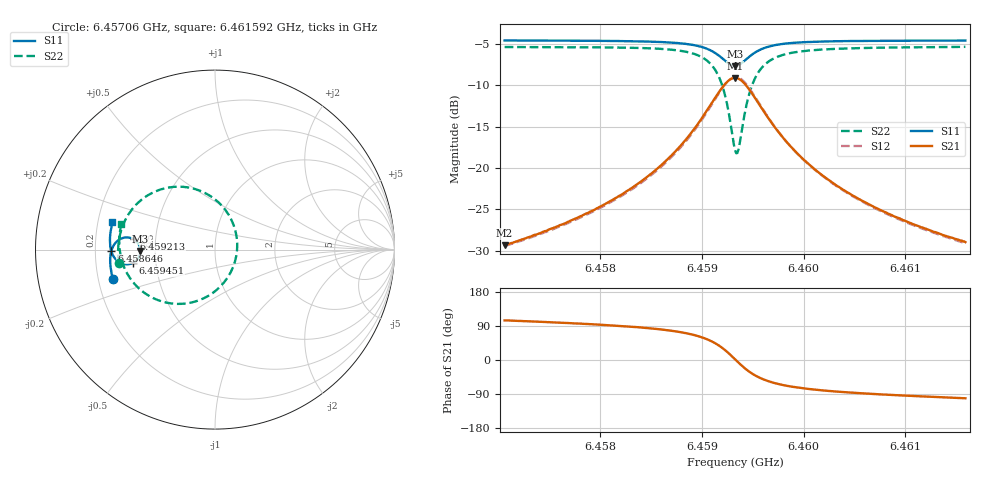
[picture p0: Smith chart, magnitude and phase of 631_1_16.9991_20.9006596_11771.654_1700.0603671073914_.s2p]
#  HZ  S  RI  R  50.00
! Rohde & Schwarz Vector Network Analyzer
! Rohde-Schwarz,ZNB20-2Port,1311601062101988,3.16
! Created: UTC 3/20/2024, 11:20:20 PM
! freq[Hz]  re:S11  im:S11  re:S21  im:S21  re:S12  im:S12  re:S22  im:S22
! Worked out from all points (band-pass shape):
!   401 points, 6.45706 GHz to 6.461592 GHz, reference 50 ohm
!   highest |S21| = -9.08 dB at 6.459326 GHz (marker M1); lowest = -29.3 dB at 6.45706 GHz (marker M2)
!   |S21| within 3 dB of the highest: 6.4591 GHz to 6.459553 GHz (452.7 kHz wide, 0.00701 % of centre)
!   lowest |S11| = -7.6 dB at 6.459326 GHz (marker M3), VSWR 2.42, Z = 20.7 - j0.363 ohm
!   |S11| at or under -10 dB: nowhere
!   |S22| runs from -18.2 to -5.3 dB; largest |S21 - S12| = 0.014
!   S11 on the Smith chart (normalised r, x): 6.45706 GHz: 0.26, -0.13; 6.458646 GHz: 0.27, -0.00; 6.459213 GHz: 0.38, +0.05; 6.459451 GHz: 0.37, -0.07; 6.461592 GHz: 0.26, +0.12
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6.45706e9  -0.5685 -0.1658  -0.00854 0.033  -0.00688 0.033  -0.535 -0.0768
6.4578192e9  -0.5817 -0.099  -0.00527 0.0512  -0.00255 0.0507  -0.5391 0.0131
6.4582158e9  -0.5841 -0.0592  0.000551 0.0695  0.00375 0.0681  -0.5306 0.0763
6.4585783e9  -0.5799 -0.0157  0.0154 0.1002  0.0193 0.0974  -0.5032 0.1586
6.4586463e9  -0.5775 -0.00611  0.0209 0.1087  0.025 0.1053  -0.4927 0.1786
6.4588389e9  -0.5644 0.0242  0.0479 0.1399  0.0522 0.1349  -0.4415 0.2483
6.4589862e9  -0.5413 0.0504  0.0943 0.1704  0.0974 0.1636  -0.3563 0.3126
6.4591222e9  -0.4967 0.0678  0.1827 0.1867  0.1835 0.1793  -0.1942 0.3505
6.4592129e9  -0.4517 0.0571  0.2739 0.1544  0.2739 0.1486  -0.0253 0.2981
6.4592808e9  -0.4222 0.0243  0.335 0.0813  0.3372 0.0759  0.0916 0.1654
6.4593262e9  -0.4153 -0.00728  0.3513 0.0121  0.3551 0.00508  0.1238 0.0359
6.4593602e9  -0.4194 -0.0314  0.3451 -0.0412  0.3493 -0.0505  0.1115 -0.0655
6.4594055e9  -0.4353 -0.0579  0.3157 -0.102  0.3181 -0.1143  0.0518 -0.1808
6.4594508e9  -0.4578 -0.0746  0.2726 -0.1436  0.2719 -0.1571  -0.0356 -0.2568
6.4595414e9  -0.5018 -0.0814  0.1862 -0.1747  0.1798 -0.1866  -0.2085 -0.3026
6.4596094e9  -0.5265 -0.0741  0.1369 -0.1725  0.1286 -0.1815  -0.3037 -0.2864
6.4596887e9  -0.5464 -0.0608  0.0967 -0.16  0.088 -0.1663  -0.3789 -0.2508
6.4598474e9  -0.5681 -0.0329  0.0512 -0.1312  0.0434 -0.1341  -0.4602 -0.1767
6.4600853e9  -0.5809 0.00252  0.0218 -0.099  0.016 -0.0995  -0.5083 -0.0928
6.4604139e9  -0.5853 0.0422  0.00626 -0.0723  0.00209 -0.0717  -0.5292 -0.0151
6.4608445e9  -0.5834 0.0858  -0.00166 -0.0528  -0.00465 -0.0518  -0.5335 0.0556
6.4615923e9  -0.5711 0.1523  -0.00683 -0.035  -0.00856 -0.0341  -0.5218 0.145
